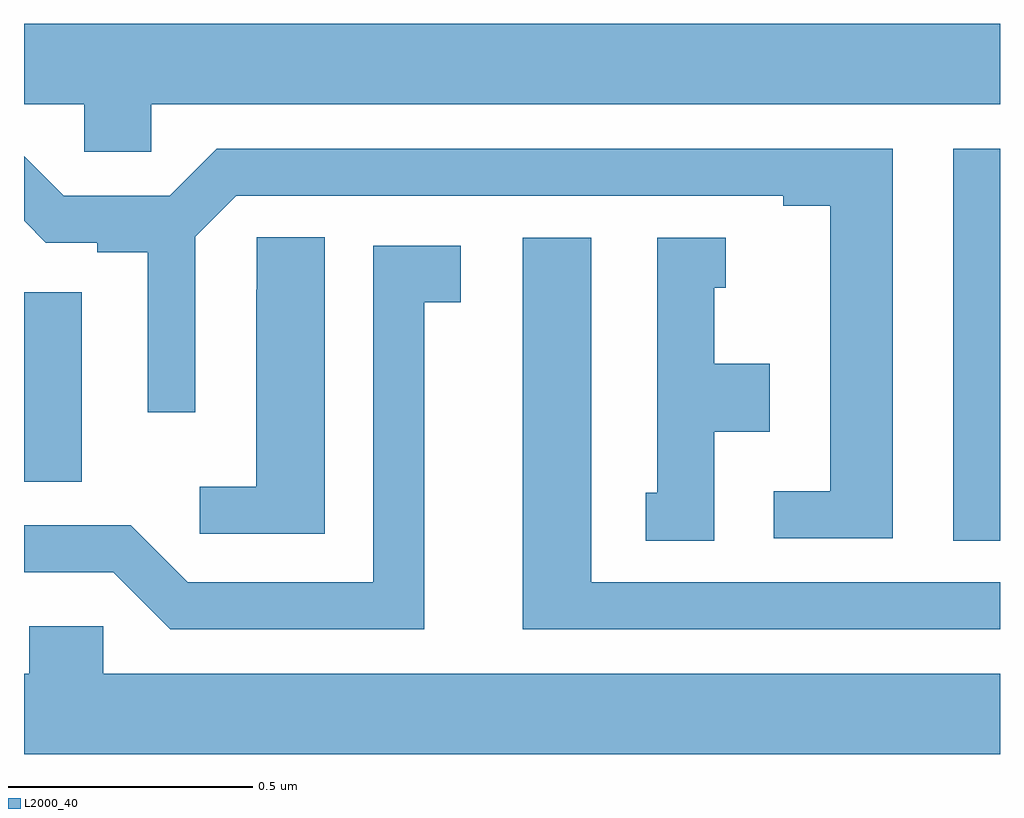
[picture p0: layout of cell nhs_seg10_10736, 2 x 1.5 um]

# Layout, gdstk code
import gdstk
lib = gdstk.Library(unit=1e-6, precision=1e-09)
def R(c, l, rs):  # rectangles x0, y0, x1, y1
    for r in rs: c.add(gdstk.rectangle(r[:2], r[2:], *l))
def P(c, l, *ps):  # polygons
    for p in ps: c.add(gdstk.Polygon(p, *l))
L2000_40 = (2000, 40)

nhs_seg10_10736 = lib.new_cell('nhs_seg10_10736')
R(nhs_seg10_10736, L2000_40, [(247.904,1298.089,248,1298.892), (246,1298.21,246.118,1298.598)])
P(nhs_seg10_10736, L2000_40, [(246,1298.984),(246.123,1298.984),(246.123,1298.886),(246.261,1298.886),(246.261,1298.984),(248,1298.984),(248,1299.148),(246,1299.148)],
  [(247.78,1298.892),(246.395,1298.892),(246.299,1298.796),(246.081,1298.796),(246,1298.877),(246,1298.745),(246.045,1298.7),(246.15,1298.7),(246.15,1298.68),(246.254,1298.68),(246.254,1298.352),(246.351,1298.352),(246.351,1298.712),(246.435,1298.796),(247.556,1298.796),(247.556,1298.776),(247.652,1298.776),(247.652,1298.19),(247.536,1298.19),(247.536,1298.094),(247.78,1298.094)],
  [(246.616,1298.711),(246.477,1298.711),(246.477,1298.603),(246.476,1298.603),(246.476,1298.2),(246.36,1298.2),(246.36,1298.103),(246.616,1298.103)],
  [(247.414,1298.312),(247.528,1298.312),(247.528,1298.452),(247.414,1298.452),(247.414,1298.607),(247.438,1298.607),(247.438,1298.71),(247.298,1298.71),(247.298,1298.187),(247.274,1298.187),(247.274,1298.089),(247.414,1298.089)],
  [(248,1298.004),(247.162,1298.004),(247.162,1298.71),(247.022,1298.71),(247.022,1297.908),(248,1297.908)],
  [(246.82,1298.578),(246.895,1298.578),(246.895,1298.694),(246.716,1298.694),(246.716,1298.004),(246.336,1298.004),(246.219,1298.121),(246,1298.121),(246,1298.025),(246.183,1298.025),(246.3,1297.908),(246.82,1297.908)],
  [(248,1297.816),(246.162,1297.816),(246.162,1297.914),(246.011,1297.914),(246.011,1297.816),(246,1297.816),(246,1297.652),(248,1297.652)])

lib.write_gds('nhs_seg10_10736.gds')
